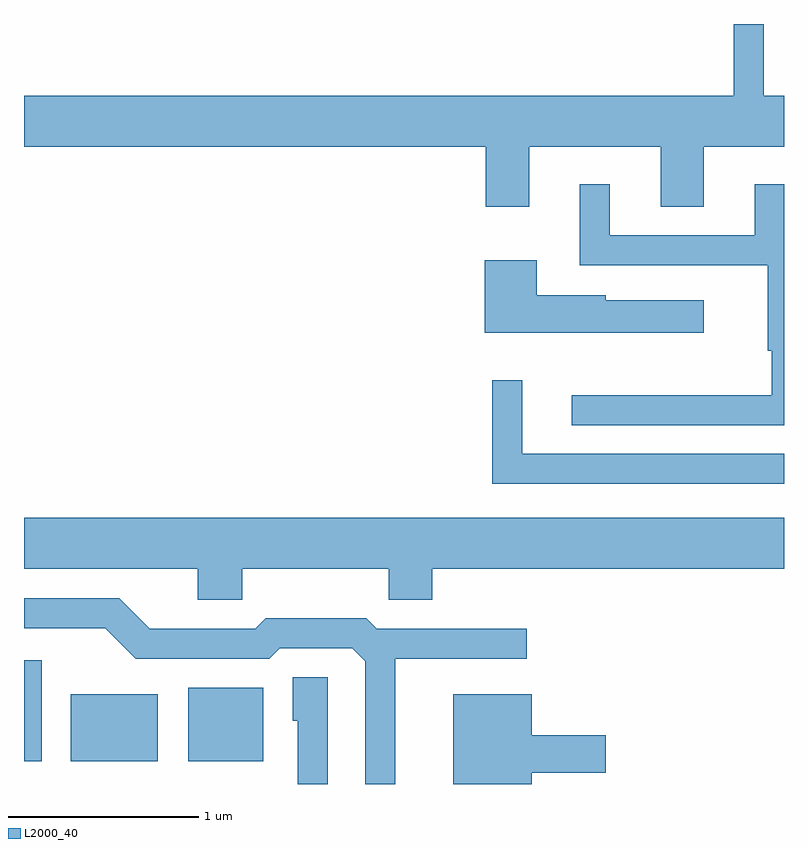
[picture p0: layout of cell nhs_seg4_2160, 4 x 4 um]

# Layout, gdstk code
import gdstk
lib = gdstk.Library(unit=1e-6, precision=1e-09)
def R(c, l, rs):  # rectangles x0, y0, x1, y1
    for r in rs: c.add(gdstk.rectangle(r[:2], r[2:], *l))
def P(c, l, *ps):  # polygons
    for p in ps: c.add(gdstk.Polygon(p, *l))
L2000_40 = (2000, 40)

nhs_seg4_2160 = lib.new_cell('nhs_seg4_2160')
R(nhs_seg4_2160, L2000_40, [(247.611,1358.101,247.704,1358.633), (247.856,1358.101,248.314,1358.454), (248.476,1358.101,248.869,1358.489)])
P(nhs_seg4_2160, L2000_40, [(250.269,1361.336),(250.961,1361.336),(250.961,1361.021),(251.189,1361.021),(251.189,1361.336),(251.611,1361.336),(251.611,1361.604),(251.504,1361.604),(251.504,1361.982),(251.346,1361.982),(251.346,1361.604),(247.611,1361.604),(247.611,1361.336),(250.041,1361.336),(250.041,1361.021),(250.269,1361.021)],
  [(251.611,1361.138),(251.456,1361.138),(251.456,1360.869),(250.694,1360.869),(250.694,1361.138),(250.536,1361.138),(250.536,1360.711),(251.526,1360.711),(251.526,1360.261),(251.546,1360.261),(251.546,1360.029),(250.493,1360.029),(250.493,1359.871),(251.611,1359.871)],
  [(251.189,1360.529),(250.674,1360.529),(250.674,1360.554),(250.309,1360.554),(250.309,1360.739),(250.036,1360.739),(250.036,1360.356),(251.189,1360.356)],
  [(251.611,1359.719),(250.234,1359.719),(250.234,1360.108),(250.076,1360.108),(250.076,1359.561),(251.611,1359.561)],
  [(248.759,1359.116),(249.531,1359.116),(249.531,1358.951),(249.759,1358.951),(249.759,1359.116),(251.611,1359.116),(251.611,1359.384),(247.611,1359.384),(247.611,1359.116),(248.526,1359.116),(248.526,1358.951),(248.759,1358.951)],
  [(249.564,1358.641),(250.258,1358.641),(250.258,1358.799),(249.467,1358.799),(249.412,1358.854),(248.884,1358.854),(248.829,1358.799),(248.272,1358.799),(248.112,1358.959),(247.611,1358.959),(247.611,1358.801),(248.039,1358.801),(248.199,1358.641),(248.902,1358.641),(248.957,1358.696),(249.339,1358.696),(249.406,1358.629),(249.406,1357.982),(249.564,1357.982)],
  [(249.209,1358.544),(249.026,1358.544),(249.026,1358.316),(249.051,1358.316),(249.051,1357.982),(249.209,1357.982)],
  [(250.284,1358.041),(250.674,1358.041),(250.674,1358.239),(250.284,1358.239),(250.284,1358.454),(249.871,1358.454),(249.871,1357.982),(250.284,1357.982)])

lib.write_gds('nhs_seg4_2160.gds')
